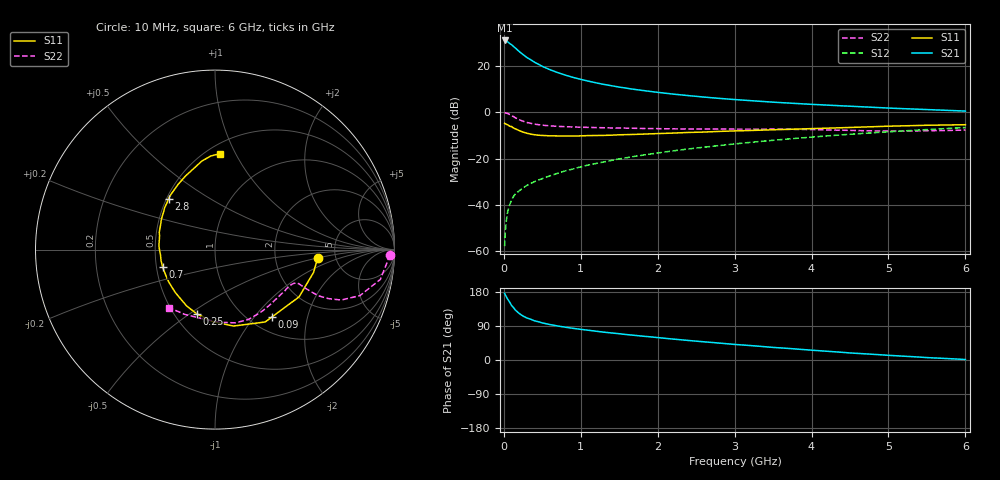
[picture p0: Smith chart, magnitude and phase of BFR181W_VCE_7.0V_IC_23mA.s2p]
! Infineon Technologies  Discrete & RF Semiconductors
! BFR181W
! VCE =  7.0 V,  IC =  23 mA
! Common Emitter S-Parameters:  Jan 2017
# GHz  S  MA  R  50
!  f  S11  S21  S12  S22
! GHz  MAG  ANG  MAG  ANG  MAG  ANG  MAG  ANG
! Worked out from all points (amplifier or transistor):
!   77 points, 10 MHz to 6 GHz, reference 50 ohm
!   highest |S21| = 30.9 dB at 10 MHz (marker M1)
!   |S21| within 3 dB of that: start of sweep to 140.3 MHz
!   unconditionally stable (mu >= 1): 620.5 MHz to 2.439 GHz
!   at 130 MHz: K = 0.43, MSG = 32.1 dB, |S12| = -36.1 dB
!   at 2.2 GHz: K = 1.03, MAG = 11.2 dB, |S12| = -16.7 dB
!   at 6 GHz: K = 0.82, MSG = 3.6 dB, |S12| = -6.6 dB
!   S11 on the Smith chart (normalised r, x): 10 MHz: 3.61, -0.53; 90 MHz: 1.25, -1.24; 250 MHz: 0.64, -0.53; 700 MHz: 0.54, -0.11; 2.8 GHz: 0.51, +0.34; 6 GHz: 0.58, +0.87
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0.01  0.5734 -4.9  34.95 175.9  0.0013 96.2  0.9735 -1.7
0.02  0.5636 -13.1  34.57 171.4  0.0028 97.0  0.9638 -3.8
0.05  0.5373 -29.4  32.7 160.4  0.0072 78.6  0.9363 -10.2
0.09  0.4914 -49.8  29.01 147.6  0.0117 72.2  0.863 -16.1
0.1  0.4906 -55.3  28.35 143.9  0.0128 71.3  0.8463 -17.7
0.15  0.4381 -76.5  23.99 131.8  0.0175 67.1  0.7569 -21.8
0.2  0.4001 -92.4  20.21 122.7  0.0202 65.1  0.6871 -23.4
0.25  0.3717 -106.0  17.32 115.9  0.0233 63.4  0.6365 -24.0
0.3  0.3513 -116.8  15.01 110.8  0.0265 65.0  0.598 -23.8
0.4  0.3259 -132.7  11.85 103.3  0.0319 66.2  0.551 -23.2
0.5  0.3148 -144.8  9.684 97.9  0.0371 67.7  0.5239 -22.6
0.6  0.3086 -154.0  8.198 93.5  0.0425 69.3  0.5064 -22.2
0.7  0.3075 -162.0  7.098 89.8  0.0482 71.1  0.4943 -22.2
0.9  0.305 -173.9  5.596 83.6  0.0597 72.6  0.4794 -23.1
1.1  0.3129 176.7  4.641 78.5  0.0727 73.9  0.4693 -24.5
1.5  0.3252 162.9  3.466 69.3  0.0983 74.3  0.4539 -29.0
2.1  0.3494 146.7  2.555 57.2  0.1391 72.9  0.4386 -38.6
2.8  0.3848 132.3  1.979 44.6  0.1907 69.7  0.4324 -52.0
3.1  0.3979 126.5  1.819 39.7  0.2147 67.8  0.4304 -57.6
4.1  0.4464 110.3  1.444 24.5  0.2984 60.1  0.4182 -77.0
5.1  0.5027 97.3  1.205 11.2  0.3859 50.8  0.391 -103.2
6  0.5359 86.9  1.055 1.3  0.4655 41.4  0.4118 -128.1
